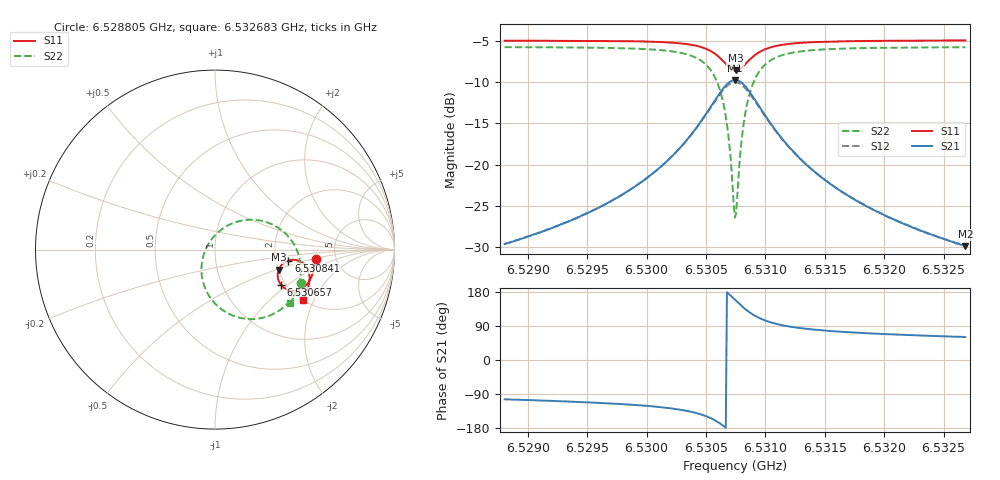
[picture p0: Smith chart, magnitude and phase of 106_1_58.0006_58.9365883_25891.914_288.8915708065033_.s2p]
#  HZ  S  RI  R  50.00
! Rohde & Schwarz Vector Network Analyzer
! Rohde-Schwarz,ZNB20-2Port,1311601062101988,3.16
! Created: UTC 3/21/2024, 12:55:00 AM
! freq[Hz]  re:S11  im:S11  re:S21  im:S21  re:S12  im:S12  re:S22  im:S22
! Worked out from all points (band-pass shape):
!   401 points, 6.528805 GHz to 6.532683 GHz, reference 50 ohm
!   highest |S21| = -9.75 dB at 6.530744 GHz (marker M1); lowest = -29.9 dB at 6.532683 GHz (marker M2)
!   |S21| within 3 dB of the highest: 6.530551 GHz to 6.530939 GHz (388.4 kHz wide, 0.00595 % of centre)
!   lowest |S11| = -8.6 dB at 6.530754 GHz (marker M3), VSWR 2.18, Z = 100 - j26 ohm
!   |S11| at or under -10 dB: nowhere
!   |S22| runs from -26.4 to -5.8 dB; largest |S21 - S12| = 0.014
!   S11 on the Smith chart (normalised r, x): 6.528805 GHz: 3.48, -0.56; 6.530657 GHz: 1.88, -0.89; 6.530841 GHz: 2.35, -0.35; 6.532683 GHz: 2.00, -1.66
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6.5288047e9  0.5607 -0.0549  -0.00789 -0.0319  -0.00854 -0.0319  0.4804 -0.184
6.5294544e9  0.5513 -0.1102  -0.0177 -0.0458  -0.0188 -0.0454  0.4483 -0.2464
6.5297937e9  0.5413 -0.1429  -0.0292 -0.0587  -0.0308 -0.0581  0.4173 -0.2877
6.530104e9  0.5239 -0.1781  -0.0531 -0.0787  -0.0554 -0.0772  0.363 -0.3363
6.530327e9  0.4965 -0.2085  -0.0948 -0.0996  -0.0981 -0.0963  0.278 -0.3764
6.5304919e9  0.451 -0.2285  -0.167 -0.1072  -0.1697 -0.1  0.1455 -0.3815
6.5305888e9  0.4038 -0.2233  -0.2409 -0.08  -0.2399 -0.0693  0.0219 -0.3211
6.5306567e9  0.3663 -0.1947  -0.2957 -0.0187  -0.2893 -0.00742  -0.0582 -0.2069
6.5306858e9  0.3546 -0.1732  -0.3105 0.022  -0.3012 0.0318  -0.0743 -0.1364
6.5307246e9  0.3492 -0.1387  -0.3123 0.0852  -0.3004 0.0914  -0.0647 -0.0327
6.530744e9  0.3521 -0.1204  -0.3036 0.117  -0.2915 0.121  -0.0444 0.0177
6.5307537e9  0.3548 -0.1116  -0.2969 0.1323  -0.2848 0.1351  -0.0305 0.0412
6.5307634e9  0.3586 -0.1034  -0.2889 0.1466  -0.2769 0.1485  -0.0147 0.0632
6.5308022e9  0.3808 -0.076  -0.2454 0.1932  -0.2353 0.1913  0.065 0.1308
6.5308409e9  0.4092 -0.0609  -0.194 0.2181  -0.1865 0.2146  0.1544 0.1625
6.5309088e9  0.455 -0.0591  -0.1142 0.2213  -0.1104 0.2178  0.2886 0.1524
6.5310058e9  0.4956 -0.0808  -0.0452 0.1892  -0.0434 0.1873  0.4004 0.082
6.5311512e9  0.5199 -0.1174  -0.00296 0.1403  -0.0019 0.1395  0.4621 -0.0177
6.5313936e9  0.5272 -0.1614  0.0152 0.0918  0.0163 0.0916  0.4785 -0.1194
6.5316748e9  0.5229 -0.1968  0.0184 0.0636  0.0195 0.0634  0.4697 -0.1851
6.5320433e9  0.5122 -0.2323  0.018 0.0441  0.0189 0.0441  0.4516 -0.2384
6.5326832e9  0.4893 -0.2824  0.0158 0.0279  0.0162 0.0277  0.4185 -0.2986
